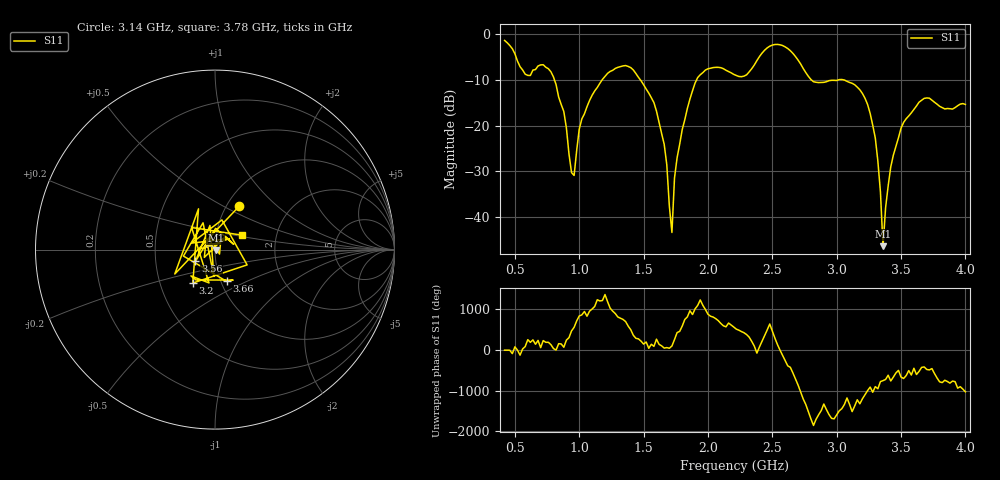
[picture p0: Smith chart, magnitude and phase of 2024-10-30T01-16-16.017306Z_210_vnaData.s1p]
!Created with skrf (http://scikit-rf.org).
# Hz S RI R 50.0
!freq ReS11 ImS11
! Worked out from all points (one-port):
!   180 points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, 420 MHz to 4 GHz, reference 50 ohm
!   lowest |S11| = -46.3 dB at 3.36 GHz (marker M1), VSWR 1.01, Z = 50.4 - j0.291 ohm
!   |S11| at or under -10 dB: 806.7 MHz to 1.179 GHz (372.1 MHz wide, 37.5 % of centre); 1.473 GHz to 1.912 GHz (439 MHz wide, 25.9 % of centre); 3.045 GHz to end of sweep (the widest 3 of 4)
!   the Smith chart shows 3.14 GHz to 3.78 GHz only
!   S11 on the Smith chart (normalised r, x): 3.14 GHz: 1.15, +0.60; 3.2 GHz: 0.73, -0.29; 3.56 GHz: 0.80, -0.11; 3.66 GHz: 1.07, -0.39; 3.78 GHz: 1.33, +0.22
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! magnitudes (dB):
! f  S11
! 420 MHz  -1.5
! 580 MHz  -8.8
! 780 MHz  -8.3
! 880 MHz  -17.0
! 960 MHz  -30.9
! 1 GHz  -20.8
! 1.08 GHz  -14.5
! 1.32 GHz  -7.2
! 1.58 GHz  -15.0
! 1.66 GHz  -24.1
! 1.72 GHz  -43.3
! 1.74 GHz  -31.4
! 1.78 GHz  -24.1
! 1.92 GHz  -9.6
! 2.22 GHz  -9.1
! 2.66 GHz  -4.3
! 2.82 GHz  -10.5
! 3.12 GHz  -10.8
! 3.14 GHz  -11.1
! 3.2 GHz  -13.0
! 3.3 GHz  -22.7
! 3.34 GHz  -34.5
! 3.36 GHz  -46.3
! 3.42 GHz  -29.0
! 3.56 GHz  -17.9
! 3.66 GHz  -14.5
! 3.78 GHz  -15.4
! 4 GHz  -15.4
